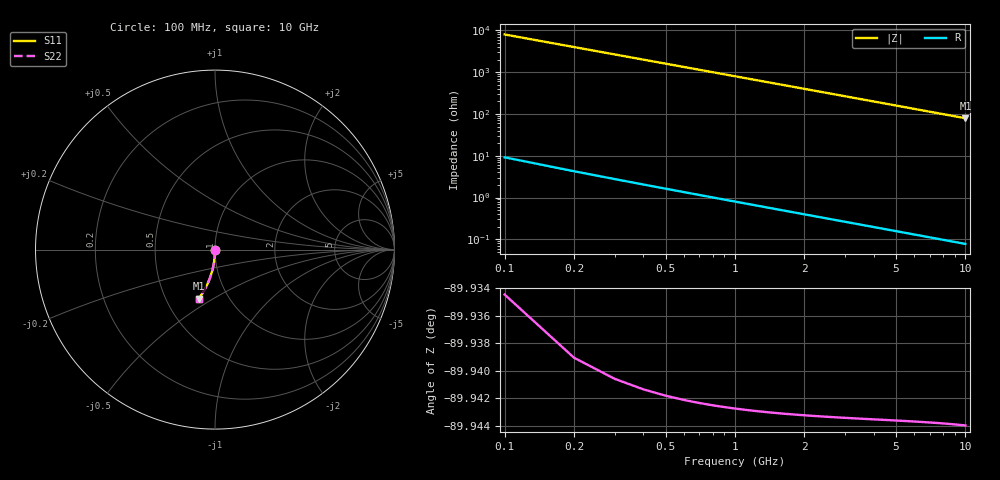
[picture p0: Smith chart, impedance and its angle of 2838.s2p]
# Hz S RI R 50.00
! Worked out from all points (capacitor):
!   100 points, 100 MHz to 10 GHz, reference 50 ohm
!   read as one part in shunt: C = 199 fF near 100 MHz
!   lowest |Z| = 79.1 ohm at 10 GHz (marker M1)
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1e8  2.03e-05 -0.00299  1 -0.00326  1 -0.00326  2.03e-05 -0.00299
2e8  -1.18e-05 -0.00598  0.9999 -0.00652  0.9999 -0.00652  -1.18e-05 -0.00598
3e8  -6.34e-05 -0.00896  0.9999 -0.00977  0.9999 -0.00977  -6.34e-05 -0.00896
4e8  -0.000134 -0.012  0.9998 -0.013  0.9998 -0.013  -0.000134 -0.012
5e8  -0.000225 -0.0149  0.9997 -0.0163  0.9997 -0.0163  -0.000225 -0.0149
6e8  -0.000335 -0.0179  0.9996 -0.0195  0.9996 -0.0195  -0.000335 -0.0179
7e8  -0.000465 -0.0209  0.9995 -0.0228  0.9995 -0.0228  -0.000465 -0.0209
8e8  -0.000614 -0.0239  0.9993 -0.0261  0.9993 -0.0261  -0.000614 -0.0239
9e8  -0.000782 -0.0269  0.9991 -0.0293  0.9991 -0.0293  -0.000782 -0.0269
1.1e9  -0.00118 -0.0329  0.9987 -0.0358  0.9987 -0.0358  -0.00118 -0.0329
1.4e9  -0.00192 -0.0418  0.998 -0.0456  0.998 -0.0456  -0.00192 -0.0418
1.8e9  -0.00318 -0.0537  0.9967 -0.0586  0.9967 -0.0586  -0.00318 -0.0537
2.1e9  -0.00432 -0.0626  0.9956 -0.0683  0.9956 -0.0683  -0.00432 -0.0626
2.5e9  -0.00612 -0.0744  0.9938 -0.0812  0.9938 -0.0812  -0.00612 -0.0744
2.9e9  -0.00823 -0.0862  0.9917 -0.0941  0.9917 -0.0941  -0.00823 -0.0862
3.4e9  -0.0113 -0.1008  0.9886 -0.1101  0.9886 -0.1101  -0.0113 -0.1008
4.2e9  -0.0172 -0.124  0.9827 -0.1354  0.9827 -0.1354  -0.0172 -0.124
5.1e9  -0.0252 -0.1495  0.9747 -0.1634  0.9747 -0.1634  -0.0252 -0.1495
5.9e9  -0.0335 -0.1716  0.9663 -0.1877  0.9663 -0.1877  -0.0335 -0.1716
6.7e9  -0.0429 -0.1932  0.9569 -0.2115  0.9569 -0.2115  -0.0429 -0.1932
8.4e9  -0.0661 -0.2366  0.9336 -0.2598  0.9336 -0.2598  -0.0661 -0.2366
1e10  -0.0915 -0.2743  0.9081 -0.302  0.9081 -0.302  -0.0915 -0.2743
